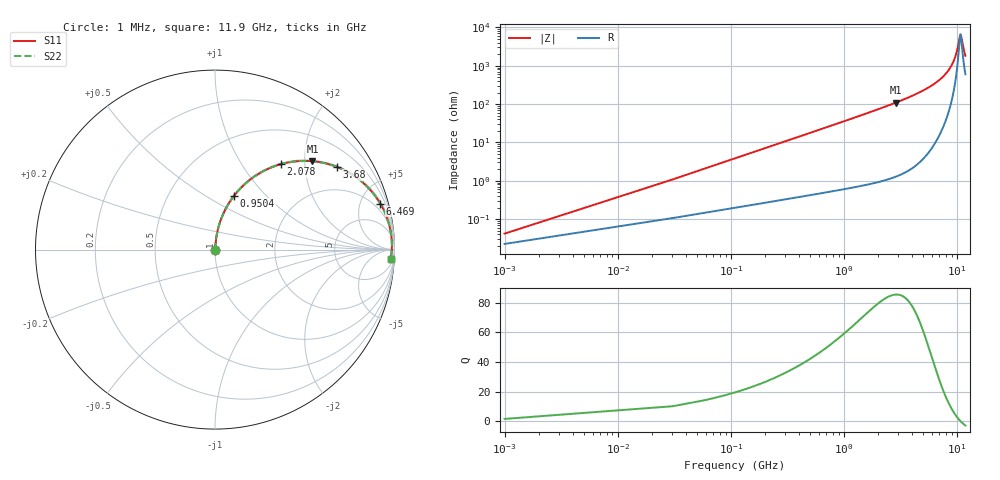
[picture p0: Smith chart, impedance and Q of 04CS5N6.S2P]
! Coilcraft 0402CS-5N6 Chip Inductor
! 29 May 2002
# MHZ S MA R 50
!Freq  MagS11  AngS11  MagS21  AngS21  MagS12  AngS12  MagS22  AngS22
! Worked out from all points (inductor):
!   403 points, 1 MHz to 11.9 GHz, reference 50 ohm
!   read as one part in series: L = 5.6 nH near 60.34 MHz
!   highest Q = 85.6 at 2.879 GHz (marker M1), where L = 6.03 nH
!   self-resonance near 10.78 GHz
!   S11 on the Smith chart (normalised r, x): 1 MHz: 1.00, +0.00; 950.4 MHz: 1.01, +0.67; 2.078 GHz: 1.02, +1.52; 3.68 GHz: 1.04, +2.93; 6.469 GHz: 1.20, +7.11; 11.9 GHz: 13, -34
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1  0.0004176 57.4  0.9998 -0.0  0.9998 -0.0  0.0004176 57.4
90.01  0.03165 84.9  0.9977 -1.8  0.9977 -1.8  0.03165 84.9
119.68  0.04204 84.8  0.9971 -2.4  0.9971 -2.4  0.04204 84.8
179.02  0.06278 84.1  0.9955 -3.6  0.9955 -3.6  0.06278 84.1
297.7  0.104 82.3  0.9914 -6.0  0.9914 -6.0  0.104 82.3
446.05  0.1548 79.7  0.9841 -8.9  0.9841 -8.9  0.1548 79.7
950.44  0.3178 70.5  0.9427 -18.5  0.9427 -18.5  0.3178 70.5
1988.89  0.5833 53.6  0.805 -35.7  0.805 -35.7  0.5833 53.6
2077.9  0.6012 52.3  0.7917 -37.0  0.7917 -37.0  0.6012 52.3
2878.99  0.7329 42.2  0.6718 -47.1  0.6718 -47.1  0.7329 42.2
3680.08  0.8214 34.1  0.5603 -55.2  0.5603 -55.2  0.8214 34.1
3976.78  0.8461 31.5  0.5223 -57.8  0.5223 -57.8  0.8461 31.5
5964.67  0.9431 18.2  0.3117 -70.5  0.3117 -70.5  0.9431 18.2
6469.06  0.9557 15.6  0.2686 -72.8  0.2686 -72.8  0.9557 15.6
7952.56  0.9778 9.2  0.1594 -77.4  0.1594 -77.4  0.9778 9.2
9109.69  0.9847 5.0  0.08857 -77.5  0.08857 -77.5  0.9847 5.0
9940.45  0.9859 2.4  0.04429 -70.3  0.04429 -70.3  0.9859 2.4
10622.86  0.9853 0.4  0.01661 -27.6  0.01661 -27.6  0.9853 0.4
10771.21  0.985 0.0  0.01502 -2.4  0.01502 -2.4  0.985 0.0
10919.56  0.9846 -0.4  0.01665 22.4  0.01665 22.4  0.9846 -0.4
11483.29  0.9828 -1.9  0.03649 60.9  0.03649 60.9  0.9828 -1.9
11900  0.981 -2.9  0.05382 67.8  0.05382 67.8  0.981 -2.9
